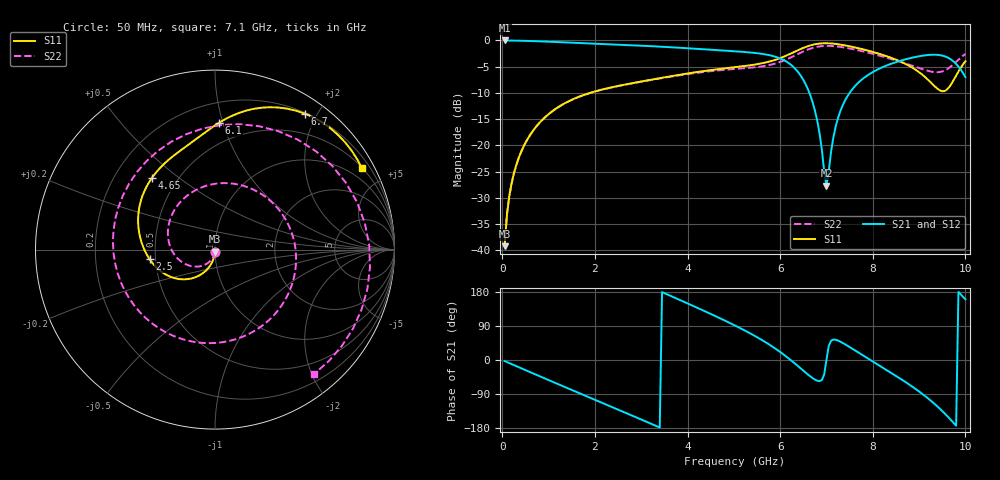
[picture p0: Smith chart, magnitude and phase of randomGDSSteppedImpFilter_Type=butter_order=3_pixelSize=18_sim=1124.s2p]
! freq	dB(S11)	phase(S11)	dB(S12)	phase(S12)
!  dB(S21)	phase(S21)	dB(S22)	phase(S22)
!S-par simulation data
#  GHz  S  DB  R 50
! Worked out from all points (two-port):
!   200 points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, 50 MHz to 10 GHz, reference 50 ohm
!   highest |S21| = -0.01 dB at 50 MHz (marker M1); lowest = -27.7 dB at 7 GHz (marker M2)
!   |S21| within 3 dB of the highest: start of sweep to 5.856 GHz; 9.006 GHz to 9.546 GHz (540.2 MHz wide, 5.82 % of centre)
!   lowest |S11| = -39.2 dB at 50 MHz (marker M3), VSWR 1.02, Z = 50 - j1.1 ohm
!   |S11| at or under -10 dB: start of sweep to 1.893 GHz
!   |S22| runs from -39.2 to -1.0 dB; largest |S21 - S12| = 0
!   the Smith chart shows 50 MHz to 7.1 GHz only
!   S11 on the Smith chart (normalised r, x): 50 MHz: 1.00, -0.02; 2.5 GHz: 0.46, -0.06; 4.65 GHz: 0.36, +0.40; 6.1 GHz: 0.34, +0.97; 6.7 GHz: 0.21, +1.85; 7.1 GHz: 0.52, +3.80
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0.05  -39.18 -91.5  -0.01 -2.7  -0.01 -2.7  -39.17 -92.8
0.2  -27.25 -97.7  -0.03 -10.8  -0.03 -10.8  -27.27 -104.0
0.5  -19.50 -109.3  -0.08 -26.7  -0.08 -26.7  -19.53 -125.1
1.75  -10.42 -151.5  -0.52 -91.9  -0.52 -91.9  -10.43 146.3
2.5  -8.67 -171.8  -0.80 -130.7  -0.80 -130.7  -8.69 89.2
3.4  -7.19 166.1  -1.18 -178.2  -1.18 -178.2  -7.26 16.6
4  -6.30 150.3  -1.49 149.4  -1.49 149.4  -6.42 -32.0
4.65  -5.49 131.5  -1.86 113.1  -1.86 113.1  -5.72 -85.2
5.05  -5.07 119.5  -2.09 89.5  -2.09 89.5  -5.42 -120.4
5.65  -4.27 102.2  -2.62 49.5  -2.62 49.5  -4.88 175.8
6.1  -3.02 88.2  -3.86 12.2  -3.86 12.2  -3.76 112.1
6.4  -1.81 74.8  -6.17 -17.7  -6.17 -17.7  -2.52 61.7
6.7  -0.83 56.4  -11.75 -47.7  -11.75 -47.7  -1.43 10.0
7  -0.54 35.8  -27.68 0.7  -27.68 0.7  -1.04 -37.2
7.1  -0.58 29.0  -21.17 50.8  -21.17 50.8  -1.05 -51.3
7.4  -0.94 9.7  -11.46 41.6  -11.46 41.6  -1.37 -89.0
7.75  -1.62 -11.4  -7.56 15.2  -7.56 15.2  -2.01 -126.7
8.35  -3.16 -47.1  -4.60 -30.1  -4.60 -30.1  -3.41 176.3
8.95  -5.73 -92.0  -3.10 -78.7  -3.10 -78.7  -5.11 124.2
9.45  -9.53 -171.1  -2.81 -128.7  -2.81 -128.7  -6.01 93.4
9.7  -8.25 117.0  -3.70 -159.9  -3.70 -159.9  -4.87 82.2
10  -3.96 50.8  -7.00 160.2  -7.00 160.2  -2.58 59.2
